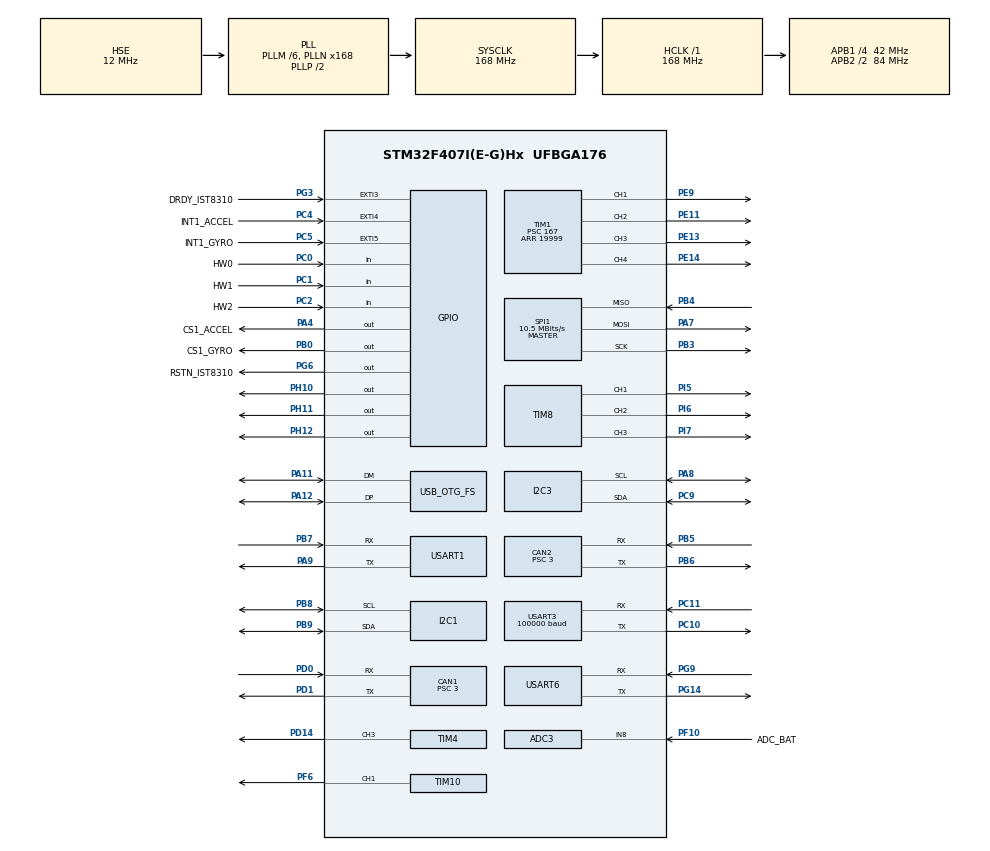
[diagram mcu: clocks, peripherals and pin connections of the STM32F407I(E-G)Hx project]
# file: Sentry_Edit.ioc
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ADC1.Channel-0\#ChannelRegularConversion=ADC_CHANNEL_TEMPSENSOR
ADC1.ClockPrescaler=ADC_CLOCK_SYNC_PCLK_DIV4
ADC1.NbrOfConversionFlag=1
ADC1.Rank-0\#ChannelRegularConversion=1
ADC1.SamplingTime-0\#ChannelRegularConversion=ADC_SAMPLETIME_3CYCLES
ADC1.master=1
ADC3.Channel-0\#ChannelRegularConversion=ADC_CHANNEL_8
ADC3.NbrOfConversionFlag=1
ADC3.Rank-0\#ChannelRegularConversion=1
ADC3.SamplingTime-0\#ChannelRegularConversion=ADC_SAMPLETIME_3CYCLES
CAN1.BS1=CAN_BS1_10TQ
CAN1.BS2=CAN_BS2_3TQ
CAN1.CalculateBaudRate=1000000
CAN1.CalculateTimeBit=1000
CAN1.CalculateTimeQuantum=71.42857142857143
CAN1.Prescaler=3
CAN2.BS1=CAN_BS1_10TQ
CAN2.BS2=CAN_BS2_3TQ
CAN2.CalculateBaudRate=1000000
CAN2.CalculateTimeBit=1000
CAN2.CalculateTimeQuantum=71.42857142857143
CAN2.Prescaler=3
Dma.Request0=USART1_RX
Dma.Request1=USART3_RX
Dma.Request2=USART6_RX
Dma.Request3=USART6_TX
Dma.Request4=USART1_TX
Dma.Request5=SPI1_RX
Dma.Request6=SPI1_TX
Dma.SPI1_RX.5.Direction=DMA_PERIPH_TO_MEMORY
Dma.SPI1_RX.5.FIFOMode=DMA_FIFOMODE_DISABLE
Dma.SPI1_RX.5.Instance=DMA2_Stream2
Dma.SPI1_RX.5.MemDataAlignment=DMA_MDATAALIGN_BYTE
Dma.SPI1_RX.5.MemInc=DMA_MINC_ENABLE
Dma.SPI1_RX.5.Mode=DMA_NORMAL
Dma.SPI1_RX.5.PeriphDataAlignment=DMA_PDATAALIGN_BYTE
Dma.SPI1_RX.5.PeriphInc=DMA_PINC_DISABLE
Dma.SPI1_RX.5.Priority=DMA_PRIORITY_VERY_HIGH
Dma.SPI1_TX.6.Direction=DMA_MEMORY_TO_PERIPH
Dma.SPI1_TX.6.FIFOMode=DMA_FIFOMODE_DISABLE
Dma.SPI1_TX.6.Instance=DMA2_Stream3
Dma.SPI1_TX.6.MemDataAlignment=DMA_MDATAALIGN_BYTE
Dma.SPI1_TX.6.MemInc=DMA_MINC_ENABLE
Dma.SPI1_TX.6.Mode=DMA_NORMAL
Dma.SPI1_TX.6.PeriphDataAlignment=DMA_PDATAALIGN_BYTE
Dma.SPI1_TX.6.PeriphInc=DMA_PINC_DISABLE
Dma.SPI1_TX.6.Priority=DMA_PRIORITY_HIGH
Dma.USART1_RX.0.Direction=DMA_PERIPH_TO_MEMORY
Dma.USART1_RX.0.FIFOMode=DMA_FIFOMODE_DISABLE
Dma.USART1_RX.0.Instance=DMA2_Stream5
Dma.USART1_RX.0.MemDataAlignment=DMA_MDATAALIGN_BYTE
Dma.USART1_RX.0.MemInc=DMA_MINC_ENABLE
Dma.USART1_RX.0.Mode=DMA_NORMAL
Dma.USART1_RX.0.PeriphDataAlignment=DMA_PDATAALIGN_BYTE
Dma.USART1_RX.0.PeriphInc=DMA_PINC_DISABLE
Dma.USART1_RX.0.Priority=DMA_PRIORITY_MEDIUM
Dma.USART1_TX.4.Direction=DMA_MEMORY_TO_PERIPH
Dma.USART1_TX.4.FIFOMode=DMA_FIFOMODE_DISABLE
Dma.USART1_TX.4.Instance=DMA2_Stream7
Dma.USART1_TX.4.MemDataAlignment=DMA_MDATAALIGN_BYTE
Dma.USART1_TX.4.MemInc=DMA_MINC_ENABLE
Dma.USART1_TX.4.Mode=DMA_NORMAL
Dma.USART1_TX.4.PeriphDataAlignment=DMA_PDATAALIGN_BYTE
Dma.USART1_TX.4.PeriphInc=DMA_PINC_DISABLE
Dma.USART1_TX.4.Priority=DMA_PRIORITY_MEDIUM
Dma.USART3_RX.1.Direction=DMA_PERIPH_TO_MEMORY
Dma.USART3_RX.1.FIFOMode=DMA_FIFOMODE_DISABLE
Dma.USART3_RX.1.Instance=DMA1_Stream1
Dma.USART3_RX.1.MemDataAlignment=DMA_MDATAALIGN_BYTE
Dma.USART3_RX.1.MemInc=DMA_MINC_ENABLE
Dma.USART3_RX.1.Mode=DMA_NORMAL
Dma.USART3_RX.1.PeriphDataAlignment=DMA_PDATAALIGN_BYTE
Dma.USART3_RX.1.PeriphInc=DMA_PINC_DISABLE
Dma.USART3_RX.1.Priority=DMA_PRIORITY_HIGH
Dma.USART6_RX.2.Direction=DMA_PERIPH_TO_MEMORY
Dma.USART6_RX.2.FIFOMode=DMA_FIFOMODE_DISABLE
Dma.USART6_RX.2.Instance=DMA2_Stream1
Dma.USART6_RX.2.MemDataAlignment=DMA_MDATAALIGN_BYTE
Dma.USART6_RX.2.MemInc=DMA_MINC_ENABLE
Dma.USART6_RX.2.Mode=DMA_NORMAL
Dma.USART6_RX.2.PeriphDataAlignment=DMA_PDATAALIGN_BYTE
Dma.USART6_RX.2.PeriphInc=DMA_PINC_DISABLE
Dma.USART6_RX.2.Priority=DMA_PRIORITY_HIGH
Dma.USART6_TX.3.Direction=DMA_MEMORY_TO_PERIPH
Dma.USART6_TX.3.FIFOMode=DMA_FIFOMODE_DISABLE
Dma.USART6_TX.3.Instance=DMA2_Stream6
Dma.USART6_TX.3.MemDataAlignment=DMA_MDATAALIGN_BYTE
Dma.USART6_TX.3.MemInc=DMA_MINC_ENABLE
Dma.USART6_TX.3.Mode=DMA_NORMAL
Dma.USART6_TX.3.PeriphDataAlignment=DMA_PDATAALIGN_BYTE
Dma.USART6_TX.3.PeriphInc=DMA_PINC_DISABLE
Dma.USART6_TX.3.Priority=DMA_PRIORITY_MEDIUM
FREERTOS.INCLUDE_eTaskGetState=1
FREERTOS.INCLUDE_pcTaskGetTaskName=1
FREERTOS.INCLUDE_uxTaskGetStackHighWaterMark=1
FREERTOS.INCLUDE_vTaskCleanUpResources=1
FREERTOS.INCLUDE_vTaskDelayUntil=1
FREERTOS.INCLUDE_xEventGroupSetBitFromISR=1
FREERTOS.INCLUDE_xQueueGetMutexHolder=1
FREERTOS.INCLUDE_xSemaphoreGetMutexHolder=1
FREERTOS.INCLUDE_xTaskAbortDelay=1
FREERTOS.INCLUDE_xTaskGetCurrentTaskHandle=1
FREERTOS.INCLUDE_xTaskGetHandle=1
FREERTOS.INCLUDE_xTimerPendFunctionCall=1
FREERTOS.Tasks01=INSTask,0,1024,StartINSTask,Default,NULL,Dynamic,NULL,NULL
FREERTOS.configENABLE_FPU=1
FREERTOS.configTOTAL_HEAP_SIZE=24576
FREERTOS.configUSE_NEWLIB_REENTRANT=1
FREERTOS.configUSE_TIMERS=1
I2C1.I2C_Mode=I2C_Fast
I2C3.I2C_Mode=I2C_Fast
Mcu.Family=STM32F4
Mcu.Name=STM32F407I(E-G)Hx
Mcu.Package=UFBGA176
NVIC.CAN1_RX0_IRQn=true\:5\:0\:true\:false\:true\:true\:true\:true\:true
NVIC.CAN1_RX1_IRQn=true\:5\:0\:true\:false\:true\:true\:true\:true\:true
NVIC.CAN2_RX0_IRQn=true\:5\:0\:false\:false\:true\:true\:true\:true\:true
NVIC.CAN2_RX1_IRQn=true\:5\:0\:false\:false\:true\:true\:true\:true\:true
NVIC.DMA1_Stream1_IRQn=true\:5\:0\:false\:false\:true\:true\:false\:true\:true
NVIC.DMA2_Stream1_IRQn=true\:5\:0\:false\:false\:true\:true\:false\:true\:true
NVIC.DMA2_Stream2_IRQn=true\:5\:0\:true\:false\:false\:false\:false\:true\:true
NVIC.DMA2_Stream3_IRQn=true\:5\:0\:true\:false\:false\:false\:false\:true\:true
NVIC.DMA2_Stream5_IRQn=true\:5\:0\:false\:false\:true\:true\:false\:true\:true
NVIC.DMA2_Stream6_IRQn=true\:5\:0\:false\:false\:true\:true\:false\:true\:true
NVIC.DMA2_Stream7_IRQn=true\:5\:0\:false\:false\:true\:true\:false\:true\:true
NVIC.EXTI3_IRQn=true\:5\:0\:true\:false\:true\:false\:true\:true\:true
NVIC.EXTI4_IRQn=true\:5\:0\:true\:false\:true\:false\:true\:true\:true
NVIC.EXTI9_5_IRQn=true\:5\:0\:true\:false\:true\:false\:true\:true\:true
NVIC.OTG_FS_IRQn=true\:5\:0\:false\:false\:true\:true\:false\:true\:true
NVIC.PriorityGroup=NVIC_PRIORITYGROUP_4
NVIC.TIM2_IRQn=true\:0\:0\:true\:false\:true\:false\:false\:true\:true
NVIC.TimeBase=TIM2_IRQn
NVIC.TimeBaseIP=TIM2
NVIC.USART1_IRQn=true\:5\:0\:false\:false\:true\:true\:true\:true\:true
NVIC.USART3_IRQn=true\:4\:0\:true\:false\:false\:false\:true\:true\:true
NVIC.USART6_IRQn=true\:5\:0\:false\:false\:false\:true\:true\:true\:true
PA11.Mode=Device_Only
PA11.Signal=USB_OTG_FS_DM
PA12.Mode=Device_Only
PA12.Signal=USB_OTG_FS_DP
PA13.Mode=Serial_Wire
PA13.Signal=SYS_JTMS-SWDIO
PA14.Mode=Serial_Wire
PA14.Signal=SYS_JTCK-SWCLK
PA4.GPIO_Label=CS1_ACCEL
PA4.GPIO_PuPd=GPIO_PULLUP
PA4.GPIO_Speed=GPIO_SPEED_FREQ_HIGH
PA4.PinState=GPIO_PIN_SET
PA4.Signal=GPIO_Output
PA7.GPIO_PuPd=GPIO_PULLUP
PA7.Mode=Full_Duplex_Master
PA7.Signal=SPI1_MOSI
PA8.GPIO_Pu=GPIO_PULLUP
PA8.Mode=I2C
PA8.Signal=I2C3_SCL
PA9.Mode=Asynchronous
PA9.Signal=USART1_TX
PB0.GPIO_Label=CS1_GYRO
PB0.GPIO_PuPd=GPIO_PULLUP
PB0.GPIO_Speed=GPIO_SPEED_FREQ_HIGH
PB0.PinState=GPIO_PIN_SET
PB0.Signal=GPIO_Output
PB3.GPIO_PuPd=GPIO_PULLUP
PB3.Mode=Full_Duplex_Master
PB3.Signal=SPI1_SCK
PB4.GPIO_PuPd=GPIO_PULLUP
PB4.Mode=Full_Duplex_Master
PB4.Signal=SPI1_MISO
PB5.Mode=CAN_Activate
PB5.Signal=CAN2_RX
PB6.Mode=CAN_Activate
PB6.Signal=CAN2_TX
PB7.Mode=Asynchronous
PB7.Signal=USART1_RX
PB8.GPIO_Pu=GPIO_PULLUP
PB8.Mode=I2C
PB8.Signal=I2C1_SCL
PB9.GPIO_Pu=GPIO_PULLUP
PB9.Mode=I2C
PB9.Signal=I2C1_SDA
PC0.GPIO_Label=HW0
PC0.Signal=GPIO_Input
PC1.GPIO_Label=HW1
PC1.Signal=GPIO_Input
PC10.Mode=Asynchronous
PC10.Signal=USART3_TX
PC11.Mode=Asynchronous
PC11.Signal=USART3_RX
PC14-OSC32_IN.Mode=LSE-External-Oscillator
PC14-OSC32_IN.Signal=RCC_OSC32_IN
PC15-OSC32_OUT.Mode=LSE-External-Oscillator
PC15-OSC32_OUT.Signal=RCC_OSC32_OUT
PC2.GPIO_Label=HW2
PC2.Signal=GPIO_Input
PC4.GPIO_Label=INT1_ACCEL
PC4.GPIO_ModeDefaultEXTI=GPIO_MODE_IT_FALLING
PC4.GPIO_PuPd=GPIO_PULLUP
PC4.Signal=GPXTI4
PC5.GPIO_Label=INT1_GYRO
PC5.GPIO_ModeDefaultEXTI=GPIO_MODE_IT_FALLING
PC5.GPIO_PuPd=GPIO_PULLUP
PC5.Signal=GPXTI5
PC9.GPIO_Pu=GPIO_PULLUP
PC9.Mode=I2C
PC9.Signal=I2C3_SDA
PD0.Mode=CAN_Activate
PD0.Signal=CAN1_RX
PD1.Mode=CAN_Activate
PD1.Signal=CAN1_TX
PD14.GPIO_PuPd=GPIO_PULLUP
PD14.GPIO_Speed=GPIO_SPEED_FREQ_HIGH
PD14.Signal=S_TIM4_CH3
PE11.GPIO_PuPd=GPIO_PULLUP
PE11.GPIO_Speed=GPIO_SPEED_FREQ_HIGH
PE11.Signal=S_TIM1_CH2
PE13.GPIO_PuPd=GPIO_PULLUP
PE13.GPIO_Speed=GPIO_SPEED_FREQ_HIGH
PE13.Signal=S_TIM1_CH3
PE14.GPIO_PuPd=GPIO_PULLUP
PE14.GPIO_Speed=GPIO_SPEED_FREQ_HIGH
PE14.Signal=S_TIM1_CH4
PE9.GPIO_PuPd=GPIO_PULLUP
PE9.GPIO_Speed=GPIO_SPEED_FREQ_HIGH
PE9.Signal=S_TIM1_CH1
PF10.GPIO_Label=ADC_BAT
PF10.Mode=IN8
PF10.Signal=ADC3_IN8
PF6.GPIO_PuPd=GPIO_PULLUP
PF6.GPIO_Speed=GPIO_SPEED_FREQ_HIGH
PF6.Signal=S_TIM10_CH1
PG14.Mode=Asynchronous
PG14.Signal=USART6_TX
PG3.GPIO_Label=DRDY_IST8310
PG3.GPIO_ModeDefaultEXTI=GPIO_MODE_IT_FALLING
PG3.GPIO_PuPd=GPIO_PULLUP
PG3.Signal=GPXTI3
PG6.GPIO_Label=RSTN_IST8310
PG6.GPIO_PuPd=GPIO_PULLUP
PG6.GPIO_Speed=GPIO_SPEED_FREQ_MEDIUM
PG6.PinState=GPIO_PIN_SET
PG6.Signal=GPIO_Output
PG9.Mode=Asynchronous
PG9.Signal=USART6_RX
PH0-OSC_IN.Mode=HSE-External-Oscillator
PH0-OSC_IN.Signal=RCC_OSC_IN
PH1-OSC_OUT.Mode=HSE-External-Oscillator
PH1-OSC_OUT.Signal=RCC_OSC_OUT
PH10.GPIO_PuPd=GPIO_PULLUP
PH10.GPIO_Speed=GPIO_SPEED_FREQ_HIGH
PH10.Signal=GPIO_Output
PH11.GPIO_PuPd=GPIO_PULLUP
PH11.GPIO_Speed=GPIO_SPEED_FREQ_HIGH
PH11.Signal=GPIO_Output
PH12.GPIO_PuPd=GPIO_PULLUP
PH12.GPIO_Speed=GPIO_SPEED_FREQ_HIGH
PH12.Signal=GPIO_Output
PI5.GPIO_PuPd=GPIO_PULLUP
PI5.GPIO_Speed=GPIO_SPEED_FREQ_HIGH
PI5.Signal=S_TIM8_CH1
PI6.GPIO_PuPd=GPIO_PULLUP
PI6.GPIO_Speed=GPIO_SPEED_FREQ_HIGH
PI6.Signal=S_TIM8_CH2
PI7.GPIO_PuPd=GPIO_PULLUP
PI7.GPIO_Speed=GPIO_SPEED_FREQ_HIGH
PI7.Signal=S_TIM8_CH3
ProjectManager.HeapSize=0x8000
ProjectManager.StackSize=0x8000
ProjectManager.TargetToolchain=STM32CubeIDE
RCC.48MHZClocksFreq_Value=48000000
RCC.AHBFreq_Value=168000000
RCC.APB1CLKDivider=RCC_HCLK_DIV4
RCC.APB1Freq_Value=42000000
RCC.APB1TimFreq_Value=84000000
RCC.APB2CLKDivider=RCC_HCLK_DIV2
RCC.APB2Freq_Value=84000000
RCC.APB2TimFreq_Value=168000000
RCC.CortexFreq_Value=168000000
RCC.HCLKFreq_Value=168000000
RCC.HSE_VALUE=12000000
RCC.HSI_VALUE=16000000
RCC.PLLM=6
RCC.PLLN=168
RCC.PLLQ=7
RCC.SYSCLKFreq_VALUE=168000000
RCC.SYSCLKSource=RCC_SYSCLKSOURCE_PLLCLK
RCC.VCOOutputFreq_Value=336000000
SH.S_TIM10_CH1.0=TIM10_CH1,PWM Generation1 CH1
SH.S_TIM1_CH1.0=TIM1_CH1,PWM Generation1 CH1
SH.S_TIM1_CH2.0=TIM1_CH2,PWM Generation2 CH2
SH.S_TIM1_CH3.0=TIM1_CH3,PWM Generation3 CH3
SH.S_TIM1_CH4.0=TIM1_CH4,PWM Generation4 CH4
SH.S_TIM4_CH3.0=TIM4_CH3,PWM Generation3 CH3
SH.S_TIM8_CH1.0=TIM8_CH1,PWM Generation1 CH1
SH.S_TIM8_CH2.0=TIM8_CH2,PWM Generation2 CH2
SH.S_TIM8_CH3.0=TIM8_CH3,PWM Generation3 CH3
SPI1.BaudRatePrescaler=SPI_BAUDRATEPRESCALER_8
SPI1.CLKPhase=SPI_PHASE_2EDGE
SPI1.CLKPolarity=SPI_POLARITY_HIGH
SPI1.CalculateBaudRate=10.5 MBits/s
SPI1.Direction=SPI_DIRECTION_2LINES
SPI1.Mode=SPI_MODE_MASTER
SPI1.VirtualType=VM_MASTER
STMicroelectronics.X-CUBE-ALGOBUILD.1.3.0.LibraryCcDSPOoLibraryJjDSPOoLibrary=true
TIM1.Channel-PWM\ Generation1\ CH1=TIM_CHANNEL_1
TIM1.Channel-PWM\ Generation2\ CH2=TIM_CHANNEL_2
TIM1.Channel-PWM\ Generation3\ CH3=TIM_CHANNEL_3
TIM1.Channel-PWM\ Generation4\ CH4=TIM_CHANNEL_4
TIM1.Period=19999
TIM1.Prescaler=167
TIM10.Channel=TIM_CHANNEL_1
TIM10.Period=1999
TIM10.Prescaler=83
TIM4.Channel-PWM\ Generation3\ CH3=TIM_CHANNEL_3
TIM4.Prescaler=3
TIM8.Channel-PWM\ Generation1\ CH1=TIM_CHANNEL_1
TIM8.Channel-PWM\ Generation2\ CH2=TIM_CHANNEL_2
TIM8.Channel-PWM\ Generation3\ CH3=TIM_CHANNEL_3
USART1.VirtualMode=VM_ASYNC
USART3.BaudRate=100000
USART3.VirtualMode=VM_ASYNC
USART6.VirtualMode=VM_ASYNC
USB_DEVICE.CLASS_NAME_FS=CDC
USB_DEVICE.VirtualMode-CDC_FS=Cdc
USB_DEVICE.VirtualModeFS=Cdc_FS
USB_OTG_FS.VirtualMode=Device_Only
VP_ADC1_TempSens_Input.Mode=IN-TempSens
VP_FREERTOS_VS_CMSIS_V1.Mode=CMSIS_V1
VP_STMicroelectronics.X-CUBE-ALGOBUILD_VS_DSPOoLibraryJjLibrary_1.3.0_1.3.0.Mode=DSPOoLibraryJjLibrary
VP_SYS_VS_tim2.Mode=TIM2
VP_TIM10_VS_ClockSourceINT.Mode=Enable_Timer
VP_TIM1_VS_ClockSourceINT.Mode=Internal
VP_TIM4_VS_ClockSourceINT.Mode=Internal
VP_TIM8_VS_ClockSourceINT.Mode=Internal
VP_USB_DEVICE_VS_USB_DEVICE_CDC_FS.Mode=CDC_FS
board=custom

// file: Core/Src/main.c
/* USER CODE BEGIN Header */
/**
  ******************************************************************************
  * @file           : main.c
  * @brief          : Main program body
  ******************************************************************************
  * @attention
  *
  * Copyright (c) 2024 STMicroelectronics.
  * All rights reserved.
  *
  * This software is licensed under terms that can be found in the LICENSE file
  * in the root directory of this software component.
  * If no LICENSE file comes with this software, it is provided AS-IS.
  *
  ******************************************************************************
  */
/* USER CODE END Header */
#include "main.h"
#include "cmsis_os.h"
#include "adc.h"
#include "can.h"
#include "dma.h"
#include "i2c.h"
#include "spi.h"
#include "tim.h"
#include "usart.h"
#include "usb_device.h"
#include "gpio.h"

/* USER CODE BEGIN Includes */

#include "Buzzer_task.h"
#include "Gimbal_task.h"
#include "Shoot_task.h"
#include "pid.h"
#include "BMI088driver.h"
#include "bsp_dwt.h"
#include "bsp_can.h"
#include "bsp_delay.h"
#include "bsp_usart.h"
#include "bsp_spi.h"
#include "CAN_receive.h"
#include "remote_control.h"
#include "dm_motor_drv.h"
/* USER CODE END Includes */

void SystemClock_Config(void);
void MX_FREERTOS_Init(void);

/* USER CODE BEGIN 0 */
const RC_ctrl_t *RC;
/* USER CODE END 0 */

int main(void)
{

  /* MCU Configuration--------------------------------------------------------*/

  /* Reset of all peripherals, Initializes the Flash interface and the Systick. */
  HAL_Init();

  /* Configure the system clock */
  SystemClock_Config();

  /* Initialize all configured peripherals */
  MX_GPIO_Init();
  MX_DMA_Init();
  MX_ADC1_Init();
  MX_ADC3_Init();
  MX_CAN1_Init();
  MX_CAN2_Init();
  MX_I2C1_Init();
  MX_I2C3_Init();
  MX_SPI1_Init();
  MX_TIM1_Init();
  MX_TIM4_Init();
  MX_TIM8_Init();
  MX_TIM10_Init();
  MX_USART1_UART_Init();
  MX_USART3_UART_Init();
  MX_USART6_UART_Init();
  /* USER CODE BEGIN 2 */
    delay_init();

    timer_init();

    can_Filter_and_it_Init();

    remote_control_init();

    user_usart_init();

    Can_data_init();

    RC = get_remote_control_point();

    All_pid_para_init();

    DWT_Init(168);

   // buzzer_flag=4;//番茄花园

  /* USER CODE END 2 */

  /* Call init function for freertos objects (in freertos.c) */
  MX_FREERTOS_Init();

  /* Start scheduler */
  osKernelStart();

  /* We should never get here as control is now taken by the scheduler */
  /* Infinite loop */
    while (1)
    {

    }
}

void SystemClock_Config(void)
{
  RCC_OscInitTypeDef RCC_OscInitStruct = {0};
  RCC_ClkInitTypeDef RCC_ClkInitStruct = {0};

  /** Configure the main internal regulator output voltage
  */
  __HAL_RCC_PWR_CLK_ENABLE();
  __HAL_PWR_VOLTAGESCALING_CONFIG(PWR_REGULATOR_VOLTAGE_SCALE1);

  /** Initializes the RCC Oscillators according to the specified parameters
  * in the RCC_OscInitTypeDef structure.
  */
  RCC_OscInitStruct.OscillatorType = RCC_OSCILLATORTYPE_HSE;
  RCC_OscInitStruct.HSEState = RCC_HSE_ON;
  RCC_OscInitStruct.PLL.PLLState = RCC_PLL_ON;
  RCC_OscInitStruct.PLL.PLLSource = RCC_PLLSOURCE_HSE;
  RCC_OscInitStruct.PLL.PLLM = 6;
  RCC_OscInitStruct.PLL.PLLN = 168;
  RCC_OscInitStruct.PLL.PLLP = RCC_PLLP_DIV2;
  RCC_OscInitStruct.PLL.PLLQ = 7;
  if (HAL_RCC_OscConfig(&RCC_OscInitStruct) != HAL_OK)
  {
    Error_Handler();
  }

  /** Initializes the CPU, AHB and APB buses clocks
  */
  RCC_ClkInitStruct.ClockType = RCC_CLOCKTYPE_HCLK|RCC_CLOCKTYPE_SYSCLK
                              |RCC_CLOCKTYPE_PCLK1|RCC_CLOCKTYPE_PCLK2;
  RCC_ClkInitStruct.SYSCLKSource = RCC_SYSCLKSOURCE_PLLCLK;
  RCC_ClkInitStruct.AHBCLKDivider = RCC_SYSCLK_DIV1;
  RCC_ClkInitStruct.APB1CLKDivider = RCC_HCLK_DIV4;
  RCC_ClkInitStruct.APB2CLKDivider = RCC_HCLK_DIV2;

  if (HAL_RCC_ClockConfig(&RCC_ClkInitStruct, FLASH_LATENCY_5) != HAL_OK)
  {
    Error_Handler();
  }
}

void HAL_TIM_PeriodElapsedCallback(TIM_HandleTypeDef *htim)
{
  if (htim->Instance == TIM2) {
    HAL_IncTick();
  }
}

void Error_Handler(void)
{
    __disable_irq();
    while (1)
    {
    }
}

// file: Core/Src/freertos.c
/* USER CODE BEGIN Header */
/**
  ******************************************************************************
  * File Name          : freertos.c
  * Description        : Code for freertos applications
  ******************************************************************************
  * @attention
  *
  * Copyright (c) 2023 STMicroelectronics.
  * All rights reserved.
  *
  * This software is licensed under terms that can be found in the LICENSE file
  * in the root directory of this software component.
  * If no LICENSE file comes with this software, it is provided AS-IS.
  *
  ******************************************************************************
  */
/* USER CODE END Header */

#include "FreeRTOS.h"
#include "task.h"
#include "main.h"
#include "cmsis_os.h"

/* USER CODE BEGIN Includes */

#include "INS_task.h"
#include "Chassis_task.h"
#include "Gimbal_task.h"
#include "Detect_left_task.h"
#include "Detect_right_task.h"
#include "Buzzer_task.h"
#include "Shoot_task.h"
#include "referee_usart_task.h"
#include "USB_task.h"
#include "Information_task.h"
#include "Super_cap_Task.h"
#include "spi.h"

/* USER CODE END Includes */

/* USER CODE BEGIN PD */

osThreadId calibrate_task_handle;
osThreadId chassisTaskHandle;
osThreadId detectleftHandle;
osThreadId detectrightHandle;
osThreadId gimbalTaskHandle;
osThreadId imuTaskHandle;
osThreadId referee_usart_task_handle;
osThreadId battery_voltage_handle;
osThreadId shootTaskHandle;
osThreadId buzzerTaskHandle;
osThreadId usbTaskHandle;
osThreadId informationTaskHandle;
osThreadId supercapTaskHandle;

/* USER CODE END PD */

osThreadId INSTaskHandle;

void StartINSTask(void const * argument);

extern void MX_USB_DEVICE_Init(void);
void MX_FREERTOS_Init(void); /* (MISRA C 2004 rule 8.1) */

/* GetIdleTaskMemory prototype (linked to static allocation support) */
void vApplicationGetIdleTaskMemory( StaticTask_t **ppxIdleTaskTCBBuffer, StackType_t **ppxIdleTaskStackBuffer, uint32_t *pulIdleTaskStackSize );

/* GetTimerTaskMemory prototype (linked to static allocation support) */
void vApplicationGetTimerTaskMemory( StaticTask_t **ppxTimerTaskTCBBuffer, StackType_t **ppxTimerTaskStackBuffer, uint32_t *pulTimerTaskStackSize );

/* USER CODE BEGIN GET_IDLE_TASK_MEMORY */
static StaticTask_t xIdleTaskTCBBuffer;
static StackType_t xIdleStack[configMINIMAL_STACK_SIZE];

void vApplicationGetIdleTaskMemory( StaticTask_t **ppxIdleTaskTCBBuffer, StackType_t **ppxIdleTaskStackBuffer, uint32_t *pulIdleTaskStackSize )
{
    *ppxIdleTaskTCBBuffer = &xIdleTaskTCBBuffer;
    *ppxIdleTaskStackBuffer = &xIdleStack[0];
    *pulIdleTaskStackSize = configMINIMAL_STACK_SIZE;
    /* place for user code */
}
/* USER CODE END GET_IDLE_TASK_MEMORY */

/* USER CODE BEGIN GET_TIMER_TASK_MEMORY */
static StaticTask_t xTimerTaskTCBBuffer;
static StackType_t xTimerStack[configTIMER_TASK_STACK_DEPTH];

void vApplicationGetTimerTaskMemory( StaticTask_t **ppxTimerTaskTCBBuffer, StackType_t **ppxTimerTaskStackBuffer, uint32_t *pulTimerTaskStackSize )
{
    *ppxTimerTaskTCBBuffer = &xTimerTaskTCBBuffer;
    *ppxTimerTaskStackBuffer = &xTimerStack[0];
    *pulTimerTaskStackSize = configTIMER_TASK_STACK_DEPTH;
    /* place for user code */
}
/* USER CODE END GET_TIMER_TASK_MEMORY */

void MX_FREERTOS_Init(void) {

  /* Create the thread(s) */
  /* definition and creation of INSTask */
  osThreadDef(INSTask, StartINSTask, osPriorityNormal, 0, 1024);
  INSTaskHandle = osThreadCreate(osThread(INSTask), NULL);

  /* USER CODE BEGIN RTOS_THREADS */
    /* add threads, ... */

//	    osThreadDef(cali, Calibrate_task, osPriorityNormal, 0, 512);
//    calibrate_task_handle = osThreadCreate(osThread(cali), NULL);

    osThreadDef(ChassisTask, Chassis_task, osPriorityAboveNormal, 0, 512);
    chassisTaskHandle = osThreadCreate(osThread(ChassisTask), NULL);

    osThreadDef(detectleftTask, Detect_left_task, osPriorityAboveNormal, 0, 64);
    detectleftHandle = osThreadCreate(osThread(detectleftTask), NULL);

    osThreadDef(detectrightTask, Detect_right_task, osPriorityAboveNormal, 0, 64);
    detectrightHandle = osThreadCreate(osThread(detectrightTask), NULL);

    osThreadDef(gimbalTask, Gimbal_task, osPriorityHigh, 0, 512);
    gimbalTaskHandle = osThreadCreate(osThread(gimbalTask), NULL);

    osThreadDef(REFEREE, referee_usart_task, osPriorityLow, 0, 128);
    referee_usart_task_handle = osThreadCreate(osThread(REFEREE), NULL);

    osThreadDef(ShootTask, Shoot_task, osPriorityNormal, 0, 64);
    shootTaskHandle = osThreadCreate(osThread(ShootTask), NULL);

    osThreadDef(BuzzerTask, Buzzer_task, osPriorityLow, 0, 64);
    buzzerTaskHandle = osThreadCreate(osThread(BuzzerTask), NULL);

    osThreadDef(USBTask, USB_task, osPriorityLow, 0, 128);
    usbTaskHandle = osThreadCreate(osThread(USBTask), NULL);

    osThreadDef(InformationTask, Information_task, osPriorityHigh, 0, 128);
    informationTaskHandle = osThreadCreate(osThread(InformationTask), NULL);

    osThreadDef(supercapTask, Super_cap_Task, osPriorityNormal, 0, 128);
    supercapTaskHandle = osThreadCreate(osThread(supercapTask), NULL);

  /* USER CODE END RTOS_THREADS */

}

void StartINSTask(void const * argument)
{
  /* init code for USB_DEVICE */
  //MX_USB_DEVICE_Init();
  /* USER CODE BEGIN StartINSTask */
    while (BMI088_init(&hspi1, 1) != BMI088_NO_ERROR)
        ;
    INS_Init();

    Gimbal.Mother.IMU_init_finish=1;

    /* Infinite loop */
    for (;;)
    {
        INS_Task();
        osDelay(1);
    }
  /* USER CODE END StartINSTask */
}
